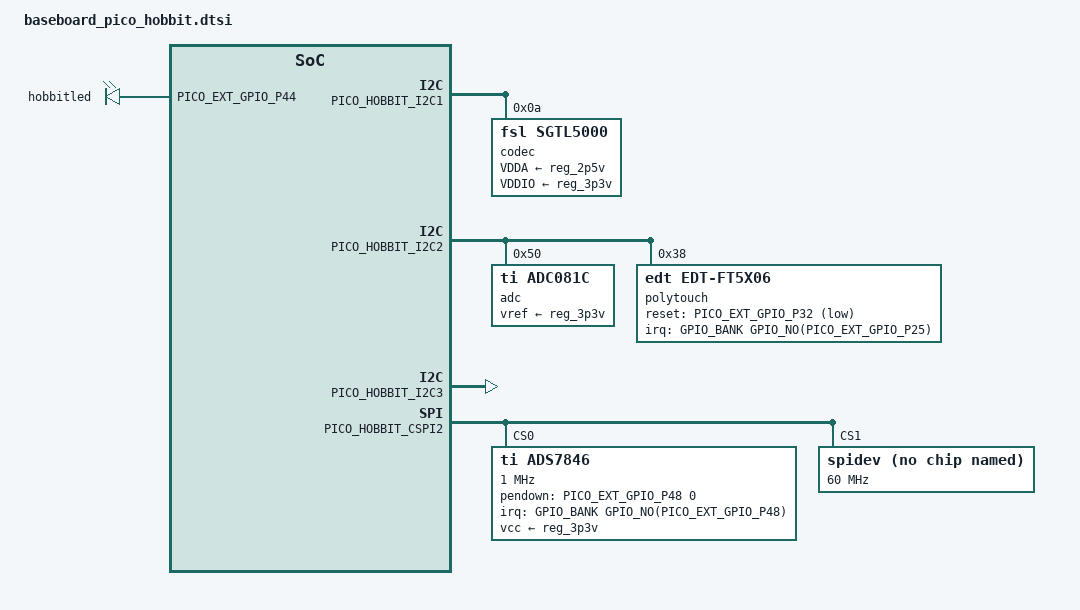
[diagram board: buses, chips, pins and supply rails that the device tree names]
/*
 * Copyright 2016 Technexion Ltd.
 *
 * Author: Wig Cheng <wig.cheng@technexion.com>
 *	   Richard Hu <richard.hu@technexion.com>
 *	   Tapani Utriainen <tapani@technexion.com>
 *
 * This program is free software; you can redistribute it and/or modify
 * it under the terms of the GNU General Public License version 2 as
 * published by the Free Software Foundation.
 *
 */

#include <tnmacro.h>

/*
 * Difference between hobbit baseboard FL and GL version
 *
 *			  FL                GL
 * ethernet PHY       10_100m LAN        Giga LAN
 * ethernet Reset     PICO_PIN_P42       PICO_PIN_P37
 */

/ {
	gpio-edm {
		compatible = "gpio-edm";
/* custom GPIO may be from GPIO expander on CPU module */
#ifdef PICO_EXT_GPIO_IOMUX_HOBBIT
		pinctrl-names = "default";
		pinctrl-0 = <PICO_EXT_GPIO_IOMUX_HOBBIT>;
#endif
		gpio_p24 {
			label = "GPIO_P24";
			gpios = <&PICO_EXT_GPIO_P24 1>;
			dir   = "in";
		};
		gpio_p26 {
			label = "GPIO_P26";
			gpios = <&PICO_EXT_GPIO_P26 1>;
			dir   = "in";
		};
		gpio_p28 {
			label = "GPIO_P28";
			gpios = <&PICO_EXT_GPIO_P28 1>;
			dir   = "in";
		};
		gpio_p30 {
			label = "GPIO_P30";
			gpios = <&PICO_EXT_GPIO_P30 1>;
			dir   = "in";
		};
		gpio_p34 {
			label = "GPIO_P34";
			gpios = <&PICO_EXT_GPIO_P34 1>;
			dir   = "in";
		};
	};

	sound {
		compatible = "fsl,imx-sgtl5000",
			     "fsl,imx-audio-sgtl5000";
		model = "audio-sgtl5000";
		ssi-controller = <&PICO_AUD_I2S_CHANNEL>;
		audio-codec = <&codec>;
		audio-routing =
			"MIC_IN", "Mic Jack",
			"Mic Jack", "Mic Bias",
			"Headphone Jack", "HP_OUT";
#if defined(PICO_AUD_MUX_INT) && defined(PICO_AUD_MUX_EXT)
		mux-int-port = <PICO_AUD_MUX_INT>;
		mux-ext-port = <PICO_AUD_MUX_EXT>;
#else
		fsl,no-audmux = "true";
#endif


	};

	gpio-leds {
		compatible = "gpio-leds";
#ifdef PICO_EXT_GPIOLED_IOMUX_HOBBIT
			pinctrl-names = "default";
			pinctrl-0 = <PICO_EXT_GPIOLED_IOMUX_HOBBIT>;
#endif
		hobbitled {
			label = "hobbitled";
			gpios = <&PICO_EXT_GPIO_P44 GPIO_ACTIVE_HIGH>; /* GPIO_P44 */
		};
	};

};

&PICO_HOBBIT_I2C1 { /* PICO pin 41,43 */
	status = "okay";

	codec: sgtl5000@0a {
		compatible = "fsl,sgtl5000";
		reg = <0x0a>;
		clocks = <&PICO_AUD_CLK_SRC>;
		VDDA-supply = <&reg_2p5v>;
		VDDIO-supply = <&reg_3p3v>;
	};
};

&PICO_HOBBIT_I2C2 { /* PICO pin 13,15 */
	status = "okay";

	adc: adc081c {
		compatible = "ti,adc081c";
		reg = <0x50>;
		vref-supply = <&reg_3p3v>;
	};

	polytouch: edt-ft5x06@38 {
		compatible = "edt,edt-ft5x06";
		reg = <0x38>;
#ifdef PICO_EXT_FT5X06_IOMUX_HOBBIT
		pinctrl-names = "default";
		pinctrl-0 = <PICO_EXT_FT5X06_IOMUX_HOBBIT>; /* Touch IRQ and Touch Reset */
#endif
		interrupt-parent = <&GPIO_BANK(PICO_EXT_GPIO_P25)>; /* GPIO_P25 */
		interrupts = <GPIO_NO(PICO_EXT_GPIO_P25) 0>;
		reset-gpios = <&PICO_EXT_GPIO_P32 GPIO_ACTIVE_LOW>; /* GPIO_P32 */
		touchscreen-size-x = <800>;
		touchscreen-size-y = <480>;
	};
};

&PICO_HOBBIT_I2C3 { /* PICO pin 45,47 */
	status = "okay";
};

&PICO_HOBBIT_CSPI2 { /* PICO pin 51,53,55,57,59 - exposed on JP4:7,9,11,13,15 and JP6:3.,4,5,6 */
	status = "okay";

	ads7846@0 {
		reg = <0>;  /* CS0 */
		compatible = "ti,ads7846";
#ifdef PICO_EXT_ADS7846_IOMUX_HOBBIT
		pinctrl-names = "default";
		pinctrl-0 = <PICO_EXT_ADS7846_IOMUX_HOBBIT>;
#endif
		interrupt-parent = <&GPIO_BANK(PICO_EXT_GPIO_P48)>; /* GPIO_P48 */
		interrupts = <GPIO_NO(PICO_EXT_GPIO_P48) 0>;
		spi-max-frequency = <1000000>;
		pendown-gpio = <&PICO_EXT_GPIO_P48 0>; /* GPIO_P48 */
		vcc-supply = <&reg_3p3v>;

		ti,x-min = /bits/ 16 <0>;
		ti,x-max = /bits/ 16 <4095>;
		ti,y-min = /bits/ 16 <0>;
		ti,y-max = /bits/ 16 <4095>;
		ti,pressure-max = /bits/ 16 <1024>;
		ti,x-plate-ohms = /bits/ 16 <90>;
		ti,y-plate-ohms = /bits/ 16 <90>;
		ti,debounce-max = /bits/ 16 <70>;
		ti,debounce-tol = /bits/ 16 <3>;
		ti,debounce-rep = /bits/ 16 <2>;
		ti,settle-delay-usec = /bits/ 16 <150>;

		linux,wakeup;
	};

	spidev@1 {
		compatible = "rohm,dh2228fv";
		spi-max-frequency = <60000000>;
		reg = <1>;
	};
};

